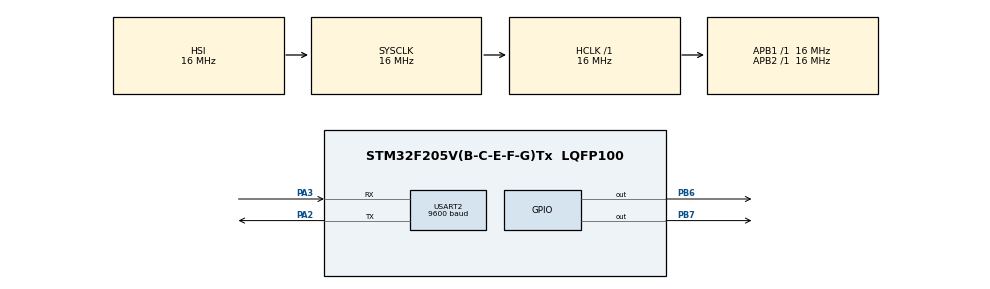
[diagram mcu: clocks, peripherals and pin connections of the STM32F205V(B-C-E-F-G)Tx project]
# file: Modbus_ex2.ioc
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Mcu.Family=STM32F2
Mcu.Name=STM32F205V(B-C-E-F-G)Tx
Mcu.Package=LQFP100
NVIC.PriorityGroup=NVIC_PRIORITYGROUP_4
NVIC.USART2_IRQn=true\:0\:0\:false\:false\:true\:true\:true\:true
PA13.Mode=Serial_Wire
PA13.Signal=SYS_JTMS-SWDIO
PA14.Mode=Serial_Wire
PA14.Signal=SYS_JTCK-SWCLK
PA2.Mode=Asynchronous
PA2.Signal=USART2_TX
PA3.Mode=Asynchronous
PA3.Signal=USART2_RX
PB6.Signal=GPIO_Output
PB7.Signal=GPIO_Output
ProjectManager.HeapSize=0x200
ProjectManager.StackSize=0x400
ProjectManager.TargetToolchain=MDK-ARM V5.32
RCC.48MHZClocksFreq_Value=48000000
RCC.AHBFreq_Value=16000000
RCC.APB1Freq_Value=16000000
RCC.APB2Freq_Value=16000000
RCC.CortexFreq_Value=16000000
RCC.HSE_VALUE=25000000
RCC.HSI_VALUE=16000000
RCC.LSE_VALUE=32768
RCC.SYSCLKFreq_VALUE=16000000
RCC.VCOOutputFreq_Value=192000000
USART2.BaudRate=9600
USART2.VirtualMode=VM_ASYNC
board=custom

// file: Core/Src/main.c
/* USER CODE BEGIN Header */
/**
  ******************************************************************************
  * @file           : main.c
  * @brief          : Main program body
  ******************************************************************************
  * @attention
  *
  * Copyright (c) 2024 STMicroelectronics.
  * All rights reserved.
  *
  * This software is licensed under terms that can be found in the LICENSE file
  * in the root directory of this software component.
  * If no LICENSE file comes with this software, it is provided AS-IS.
  *
  ******************************************************************************
  */
/* USER CODE END Header */
#include "main.h"

/* USER CODE BEGIN Includes */
#include "modbusSlave.h"
/* USER CODE END Includes */

UART_HandleTypeDef huart2;

void SystemClock_Config(void);
static void MX_GPIO_Init(void);
static void MX_USART2_UART_Init(void);
/* USER CODE BEGIN PFP */
uint8_t RxData[256];
uint8_t TxData[256];
uint16_t Holding_Registers_Data[50];

/* USER CODE END PFP */

int main(void)
{

  /* MCU Configuration--------------------------------------------------------*/

  /* Reset of all peripherals, Initializes the Flash interface and the Systick. */
  HAL_Init();

  /* Configure the system clock */
  SystemClock_Config();

  /* Initialize all configured peripherals */
  MX_GPIO_Init();
  MX_USART2_UART_Init();
	HAL_UARTEx_ReceiveToIdle_IT(&huart2, RxData, 256);

  /* Infinite loop */
  while (1)
  {

  }
}

void SystemClock_Config(void)
{
  RCC_OscInitTypeDef RCC_OscInitStruct = {0};
  RCC_ClkInitTypeDef RCC_ClkInitStruct = {0};

  /** Initializes the RCC Oscillators according to the specified parameters
  * in the RCC_OscInitTypeDef structure.
  */
  RCC_OscInitStruct.OscillatorType = RCC_OSCILLATORTYPE_HSI;
  RCC_OscInitStruct.HSIState = RCC_HSI_ON;
  RCC_OscInitStruct.HSICalibrationValue = RCC_HSICALIBRATION_DEFAULT;
  RCC_OscInitStruct.PLL.PLLState = RCC_PLL_NONE;
  if (HAL_RCC_OscConfig(&RCC_OscInitStruct) != HAL_OK)
  {
    Error_Handler();
  }

  /** Initializes the CPU, AHB and APB buses clocks
  */
  RCC_ClkInitStruct.ClockType = RCC_CLOCKTYPE_HCLK|RCC_CLOCKTYPE_SYSCLK
                              |RCC_CLOCKTYPE_PCLK1|RCC_CLOCKTYPE_PCLK2;
  RCC_ClkInitStruct.SYSCLKSource = RCC_SYSCLKSOURCE_HSI;
  RCC_ClkInitStruct.AHBCLKDivider = RCC_SYSCLK_DIV1;
  RCC_ClkInitStruct.APB1CLKDivider = RCC_HCLK_DIV1;
  RCC_ClkInitStruct.APB2CLKDivider = RCC_HCLK_DIV1;

  if (HAL_RCC_ClockConfig(&RCC_ClkInitStruct, FLASH_LATENCY_0) != HAL_OK)
  {
    Error_Handler();
  }
}

static void MX_USART2_UART_Init(void)
{

  huart2.Instance = USART2;
  huart2.Init.BaudRate = 9600;
  huart2.Init.WordLength = UART_WORDLENGTH_8B;
  huart2.Init.StopBits = UART_STOPBITS_1;
  huart2.Init.Parity = UART_PARITY_NONE;
  huart2.Init.Mode = UART_MODE_TX_RX;
  huart2.Init.HwFlowCtl = UART_HWCONTROL_NONE;
  huart2.Init.OverSampling = UART_OVERSAMPLING_16;
  if (HAL_UART_Init(&huart2) != HAL_OK)
  {
    Error_Handler();
  }

}

static void MX_GPIO_Init(void)
{
  GPIO_InitTypeDef GPIO_InitStruct = {0};

  /* GPIO Ports Clock Enable */
  __HAL_RCC_GPIOA_CLK_ENABLE();
  __HAL_RCC_GPIOB_CLK_ENABLE();

  /*Configure GPIO pin Output Level */
  HAL_GPIO_WritePin(GPIOB, GPIO_PIN_6|GPIO_PIN_7, GPIO_PIN_RESET);

  /*Configure GPIO pins : PB6 PB7 */
  GPIO_InitStruct.Pin = GPIO_PIN_6|GPIO_PIN_7;
  GPIO_InitStruct.Mode = GPIO_MODE_OUTPUT_PP;
  GPIO_InitStruct.Pull = GPIO_NOPULL;
  GPIO_InitStruct.Speed = GPIO_SPEED_FREQ_LOW;
  HAL_GPIO_Init(GPIOB, &GPIO_InitStruct);

}

/* USER CODE BEGIN 4 */
void HAL_UARTEx_RxEventCallback(UART_HandleTypeDef *huart, uint16_t Size)
{
		if(huart->Instance == huart2.Instance) // check interrupt of serial port 2
		{
			if (RxData[0] == SLAVE_ID)
			{
				switch (RxData[1])
				{
					case 0x03:
						readHoldingRegs();

						break;
					case 0x04:
						readInputRegs();

						break;
					case 0x01:
						readCoils();

						break;
					case 0x02:
						readInputs();

						break;
					case 0x06:
						writeSingleReg();

						break;
					case 0x10:
						writeHoldingRegs();

						if(Holding_Registers_Data[0]== 1) HAL_GPIO_WritePin(GPIOB, GPIO_PIN_6, 1);
						else if(Holding_Registers_Data[0] == 0) HAL_GPIO_WritePin(GPIOB, GPIO_PIN_6, 0);

						if(Holding_Registers_Data[1] == 1) HAL_GPIO_WritePin(GPIOB, GPIO_PIN_7, 1);
						else if(Holding_Registers_Data[1] == 0) HAL_GPIO_WritePin(GPIOB, GPIO_PIN_7, 0);

						break;
					default:
						modbusException(ILLEGAL_FUNCTION);

						break;
				}
			}
		HAL_UARTEx_ReceiveToIdle_IT(&huart2, RxData, 256);
		}
}

/* USER CODE END 4 */

void Error_Handler(void)
{
  __disable_irq();
  while (1)
  {
  }
}
